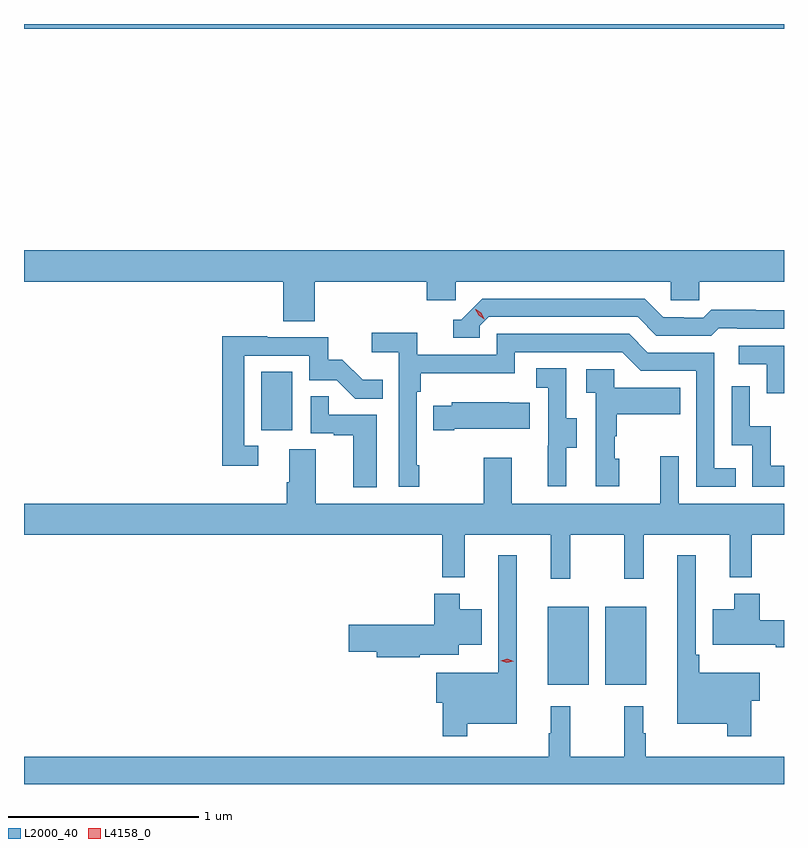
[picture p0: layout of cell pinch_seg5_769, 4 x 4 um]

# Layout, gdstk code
import gdstk
lib = gdstk.Library(unit=1e-6, precision=1e-09)
def R(c, l, rs):  # rectangles x0, y0, x1, y1
    for r in rs: c.add(gdstk.rectangle(r[:2], r[2:], *l))
def P(c, l, *ps):  # polygons
    for p in ps: c.add(gdstk.Polygon(p, *l))
L2000_40 = (2000, 40)
L4158_0 = (4158, 0)

pinch_seg5_769 = lib.new_cell('pinch_seg5_769')
R(pinch_seg5_769, L2000_40, [(832.607,901.259,832.822,901.669), (832.91,901.259,833.125,901.669), (831.098,902.598,831.262,902.905), (829.85,904.712,833.85,904.736)])
P(pinch_seg5_769, L2000_40, [(831.38,903.38),(831.971,903.38),(831.971,903.282),(832.122,903.282),(832.122,903.38),(833.253,903.38),(833.253,903.282),(833.403,903.282),(833.403,903.38),(833.85,903.38),(833.85,903.544),(829.85,903.544),(829.85,903.38),(831.215,903.38),(831.215,903.172),(831.38,903.172)],
  [(832.248,903.147),(832.296,903.195),(833.079,903.195),(833.178,903.096),(833.467,903.096),(833.506,903.135),(833.605,903.135),(833.605,903.132),(833.85,903.132),(833.85,903.229),(833.7,903.229),(833.7,903.232),(833.467,903.232),(833.425,903.189),(833.322,903.189),(833.322,903.192),(833.215,903.192),(833.116,903.291),(832.263,903.291),(832.152,903.18),(832.109,903.18),(832.109,903.084),(832.248,903.084)],
  [(831.931,902.413),(831.918,902.413),(831.918,902.801),(831.938,902.801),(831.938,902.897),(832.434,902.897),(832.434,903.009),(832.998,903.009),(833.097,902.91),(833.388,902.91),(833.388,902.301),(833.597,902.301),(833.597,902.397),(833.484,902.397),(833.484,903.006),(833.134,903.006),(833.035,903.105),(832.338,903.105),(832.338,902.994),(831.92,902.994),(831.92,903.11),(831.681,903.11),(831.681,903.008),(831.822,903.008),(831.822,902.301),(831.931,902.301)],
  [(831.082,902.517),(831.009,902.517),(831.009,902.991),(831.351,902.991),(831.351,902.862),(831.496,902.862),(831.594,902.764),(831.737,902.764),(831.737,902.863),(831.633,902.863),(831.526,902.97),(831.45,902.97),(831.45,903.087),(831.131,903.087),(831.131,903.092),(830.893,903.092),(830.893,902.412),(831.082,902.412)],
  [(833.85,903.042),(833.613,903.042),(833.613,902.946),(833.76,902.946),(833.76,902.793),(833.85,902.793)],
  [(832.705,902.506),(832.759,902.506),(832.759,902.661),(832.704,902.661),(832.704,902.924),(832.545,902.924),(832.545,902.821),(832.608,902.821),(832.608,902.517),(832.607,902.517),(832.607,902.304),(832.705,902.304)],
  [(832.984,902.448),(832.959,902.448),(832.959,902.567),(832.969,902.567),(832.969,902.681),(833.303,902.681),(833.303,902.821),(832.956,902.821),(832.956,902.919),(832.809,902.919),(832.809,902.795),(832.86,902.795),(832.86,902.304),(832.984,902.304)],
  [(833.85,902.41),(833.78,902.41),(833.78,902.618),(833.67,902.618),(833.67,902.83),(833.574,902.83),(833.574,902.52),(833.682,902.52),(833.682,902.301),(833.85,902.301)],
  [(831.706,902.679),(831.455,902.679),(831.455,902.777),(831.36,902.777),(831.36,902.583),(831.481,902.583),(831.481,902.571),(831.584,902.571),(831.584,902.297),(831.706,902.297)],
  [(832.114,902.606),(832.511,902.606),(832.511,902.743),(832.403,902.743),(832.403,902.746),(832.101,902.746),(832.101,902.728),(832.003,902.728),(832.003,902.599),(832.114,902.599)],
  [(831.385,902.498),(831.245,902.498),(831.245,902.324),(831.233,902.324),(831.233,902.212),(829.85,902.212),(829.85,902.048),(832.051,902.048),(832.051,901.823),(832.169,901.823),(832.169,902.048),(832.622,902.048),(832.622,901.815),(832.724,901.815),(832.724,902.048),(833.008,902.048),(833.008,901.815),(833.111,901.815),(833.111,902.048),(833.564,902.048),(833.564,901.823),(833.681,901.823),(833.681,902.048),(833.85,902.048),(833.85,902.212),(833.295,902.212),(833.295,902.461),(833.198,902.461),(833.198,902.212),(832.417,902.212),(832.417,902.452),(832.27,902.452),(832.27,902.212),(831.385,902.212)],
  [(832.183,901.052),(832.444,901.052),(832.444,901.939),(832.347,901.939),(832.347,901.321),(832.02,901.321),(832.02,901.163),(832.054,901.163),(832.054,900.987),(832.183,900.987)],
  [(833.678,901.174),(833.722,901.174),(833.722,901.321),(833.405,901.321),(833.405,901.417),(833.385,901.417),(833.385,901.939),(833.288,901.939),(833.288,901.052),(833.55,901.052),(833.55,900.987),(833.678,900.987)],
  [(833.85,901.599),(833.723,901.599),(833.723,901.738),(833.588,901.738),(833.588,901.657),(833.474,901.657),(833.474,901.469),(833.806,901.469),(833.806,901.457),(833.85,901.457)],
  [(831.932,901.415),(832.138,901.415),(832.138,901.469),(832.258,901.469),(832.258,901.657),(832.144,901.657),(832.144,901.738),(832.01,901.738),(832.01,901.575),(831.558,901.575),(831.558,901.433),(831.707,901.433),(831.707,901.403),(831.932,901.403)],
  [(833.008,901.144),(833.008,900.88),(832.724,900.88),(832.724,901.144),(832.622,901.144),(832.622,901.004),(832.611,901.004),(832.611,900.88),(829.85,900.88),(829.85,900.736),(833.85,900.736),(833.85,900.88),(833.122,900.88),(833.122,901.004),(833.11,901.004),(833.11,901.144)])
P(pinch_seg5_769, L4158_0, [(832.273,903.182),(832.243,903.202),(832.226,903.234),(832.226,903.234),(832.227,903.234),(832.257,903.215),(832.273,903.183),(832.273,903.182)],
  [(832.392,901.375),(832.358,901.386),(832.357,901.386),(832.358,901.386),(832.393,901.395),(832.428,901.383),(832.428,901.383),(832.428,901.383)])

lib.write_gds('pinch_seg5_769.gds')
